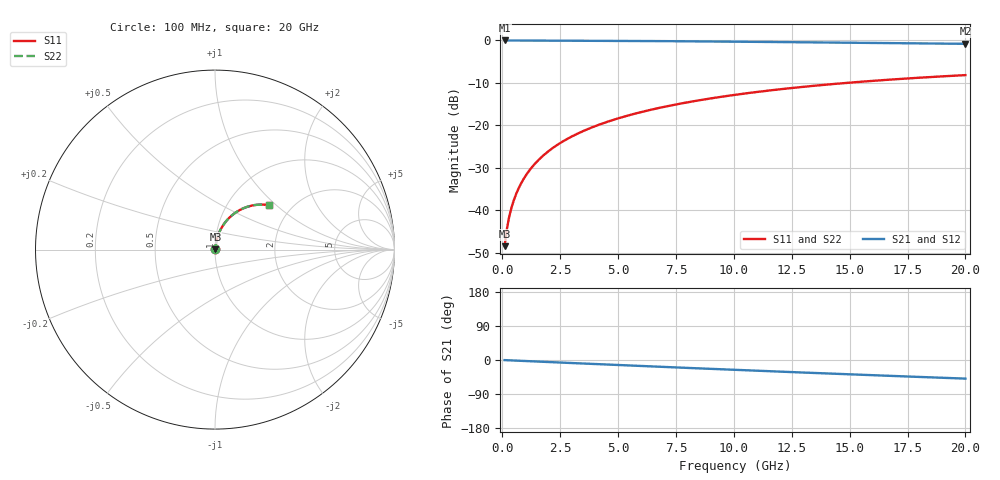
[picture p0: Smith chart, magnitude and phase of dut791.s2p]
! Touchstone file exported from HFSS 2026.1.0
!  File:  C:/ffzhzh/LocalFiles/Ansys_Project_Files/temp_train_TMRDL_791_1783155941_18472.aedt
!  Generated:  05:07:00 PM Jul  4, 2026
!  Design:  TMRDL
!  Project:  temp_train_TMRDL_791_1783155941_18472
! Variables:
!  h_bsmrdl = 2um
!  h_ox = 20um
!  h_rdl = 5um
!  h_sub = 80um
!  h_tmrdl = 4.1um
!  h_tsv = 80um
!  h_via = 3um
!  l_bsmrdl = 300um
!  l_sub = 1154.48um
!  l_tmrdl = 754.48um
!  m_sub = 200um
!  pitch = 55.54um
!  r_tsv = 6um
!  s_tmrdl = 10um
!  w_bsmrdl = 18um
!  w_sub = 500um
!  w_tmrdl = 28.47um
!  x_tsv_center1 = 768.715um
!  x_tsv_center2 = 1086.715um
!  x_tsv_center3 = 1869.665um
!  x_tsv_center4 = 2187.665um
!  x_tsv_center5 = 2970.615um
!  x_tsv_center6 = 3288.615um
# GHz S MA R 50.000000
! Terminal data exported
! Port[1] = TM_RDL1_1_T1
! Port[2] = TM_RDL1_1_T2
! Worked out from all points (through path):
!   200 points, 100 MHz to 20 GHz, reference 50 ohm
!   highest |S21| = -0.02 dB at 100 MHz (marker M1); lowest = -0.8 dB at 20 GHz (marker M2)
!   group delay of S21, straight-line fit = 6.82 ps
!   lowest |S11| = -48.5 dB at 100 MHz (marker M3), VSWR 1.01, Z = 50.3 + j0.277 ohm
!   |S11| at or under -10 dB: start of sweep to 14.93 GHz
!   |S22| runs from -48.5 to -8.2 dB; largest |S21 - S12| = 5.2e-15
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0.1  0.003756 47.3  0.9975 -0.3  0.9975 -0.3  0.003756 47.3
! Gamma 0 0 0 0
! Port Impedance 50 0 50 0
0.2  0.006039 62.3  0.9972 -0.6  0.9972 -0.6  0.006039 62.3
0.3  0.008389 68.7  0.997 -0.8  0.997 -0.8  0.008389 68.7
0.4  0.01075 72.4  0.9969 -1.1  0.9969 -1.1  0.01075 72.4
0.5  0.01312 74.8  0.9968 -1.4  0.9968 -1.4  0.01312 74.8
0.7  0.01792 77.7  0.9966 -1.9  0.9966 -1.9  0.01792 77.7
0.9  0.02276 79.2  0.9964 -2.4  0.9964 -2.4  0.02276 79.2
1.1  0.02762 79.9  0.9962 -3.0  0.9962 -3.0  0.02762 79.9
1.5  0.03738 80.5  0.9957 -4.0  0.9957 -4.0  0.03738 80.5
1.8  0.04468 80.4  0.9953 -4.8  0.9953 -4.8  0.04468 80.4
2.1  0.05197 80.1  0.9948 -5.6  0.9948 -5.6  0.05197 80.1
2.7  0.06645 79.1  0.9935 -7.2  0.9935 -7.2  0.06645 79.1
3.5  0.08551 77.5  0.9915 -9.3  0.9915 -9.3  0.08551 77.5
4.2  0.1019 75.9  0.9895 -11.1  0.9895 -11.1  0.1019 75.9
5  0.1204 74.0  0.9869 -13.2  0.9869 -13.2  0.1204 74.0
5.9  0.1407 71.8  0.9836 -15.5  0.9836 -15.5  0.1407 71.8
6.8  0.1605 69.6  0.98 -17.8  0.98 -17.8  0.1605 69.7
8.3  0.1925 66.0  0.9734 -21.6  0.9734 -21.6  0.1925 66.1
10.1  0.2291 61.8  0.9648 -26.1  0.9648 -26.1  0.2291 61.8
13.4  0.2904 54.0  0.9473 -34.1  0.9473 -34.1  0.2904 54.1
16.7  0.344 46.6  0.9287 -41.7  0.9287 -41.7  0.344 46.6
20  0.3894 39.4  0.9105 -49.1  0.9105 -49.1  0.3894 39.4
